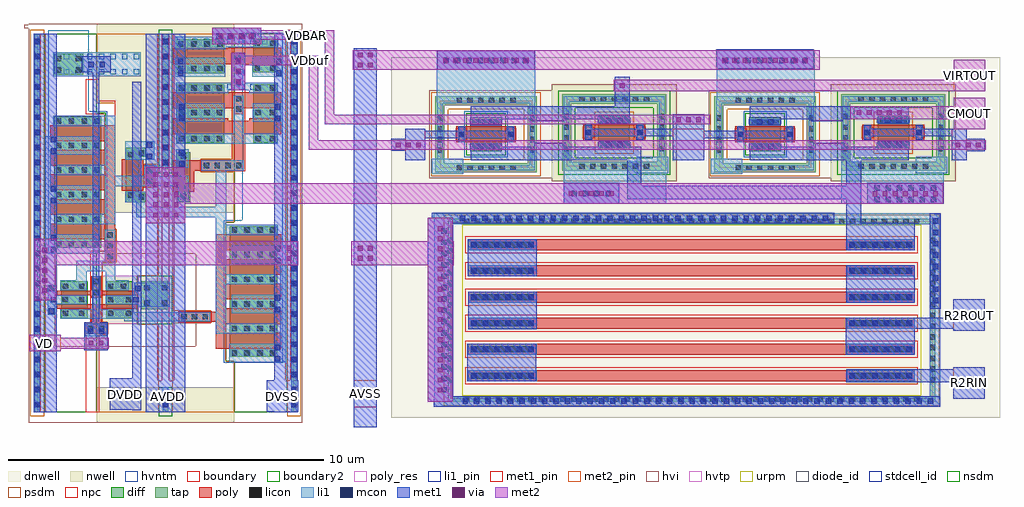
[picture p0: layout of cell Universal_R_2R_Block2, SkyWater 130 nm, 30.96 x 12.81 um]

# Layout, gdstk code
from math import pi, radians
import gdstk
lib = gdstk.Library(unit=1e-6, precision=1e-09)
def R(c, l, rs):  # rectangles x0, y0, x1, y1
    for r in rs: c.add(gdstk.rectangle(r[:2], r[2:], *l))
def A(c, l, x, y, w, h, nx, ny, dx, dy):  # array of equal rectangles
    R(c, l, [(x+i*dx, y+j*dy, x+i*dx+w, y+j*dy+h) for i in range(nx) for j in range(ny)])
def P(c, l, *ps):  # polygons
    for p in ps: c.add(gdstk.Polygon(p, *l))
dnwell = (64, 18)
nwell = (64, 20)
diff = (65, 20)
tap = (65, 44)
poly_res = (66, 13)
poly = (66, 20)
licon = (66, 44)
li1_pin = (67, 16)
li1 = (67, 20)
mcon = (67, 44)
met1_pin = (68, 16)
met1 = (68, 20)
via = (68, 44)
met2_pin = (69, 16)
met2 = (69, 20)
hvi = (75, 20)
hvtp = (78, 44)
urpm = (79, 20)
stdcell_id = (81, 4)
diode_id = (81, 23)
nsdm = (93, 44)
psdm = (94, 20)
npc = (95, 20)
hvntm = (125, 20)
boundary = (235, 4)
boundary2 = (236, 0)

sky130_fd_sc_hvl__inv_1 = lib.new_cell('sky130_fd_sc_hvl__inv_1')
R(sky130_fd_sc_hvl__inv_1, nwell, [(-0.33,1.885,1.77,4.485)])
R(sky130_fd_sc_hvl__inv_1, diff, [(0.22,0.535,1.29,1.285), (0.2,2.215,1.27,3.715)])
R(sky130_fd_sc_hvl__inv_1, tap, [(0,-0.085,1.44,0.085), (0,3.985,1.44,4.155)])
P(sky130_fd_sc_hvl__inv_1, poly, [(1.005,2.085),(0.985,2.085),(0.985,3.845),(0.485,3.845),(0.485,1.415),(0.505,1.415),(0.505,0.405),(1.005,0.405)])
A(sky130_fd_sc_hvl__inv_1, licon, 0.155, -0.085, 0.17, 0.17, 3, 2, 0.48, 4.07)
R(sky130_fd_sc_hvl__inv_1, licon, [(0.28,0.575,0.45,0.745), (1.06,0.575,1.23,0.745), (0.28,1.075,0.45,1.245), (1.06,1.075,1.23,1.245), (0.585,1.685,0.755,1.855), (0.26,2.255,0.43,2.425), (1.04,2.255,1.21,2.425), (0.26,2.67,0.43,2.84), (1.04,2.67,1.21,2.84), (0.26,3.09,0.43,3.26), (1.04,3.09,1.21,3.26), (0.26,3.505,0.43,3.675), (1.04,3.505,1.21,3.675)])
A(sky130_fd_sc_hvl__inv_1, li1_pin, 0.155, 1.58, 0.17, 0.17, 3, 1, 0.48, 0)
A(sky130_fd_sc_hvl__inv_1, li1_pin, 1.115, 1.95, 0.17, 0.17, 1, 4, 0, 0.37)
R(sky130_fd_sc_hvl__inv_1, li1_pin, [(1.115,0.84,1.285,1.01), (1.115,1.21,1.285,1.38)])
R(sky130_fd_sc_hvl__inv_1, li1, [(0,-0.085,1.44,0.085), (0.09,0.365,0.68,1.325), (0.125,1.55,0.835,1.935), (0.09,2.175,0.68,3.755), (0,3.985,1.44,4.155)])
P(sky130_fd_sc_hvl__inv_1, li1, [(1.345,3.755),(0.96,3.755),(0.96,2.175),(1.015,2.175),(1.015,0.495),(1.345,0.495)])
R(sky130_fd_sc_hvl__inv_1, mcon, [(0.155,-0.085,0.325,0.085), (0.155,-0.085,0.325,0.085), (0.635,-0.085,0.805,0.085), (0.635,-0.085,0.805,0.085), (1.115,-0.085,1.285,0.085), (1.115,-0.085,1.285,0.085), (0.12,0.395,0.29,0.565), (0.48,0.395,0.65,0.565), (0.12,3.505,0.29,3.675), (0.48,3.505,0.65,3.675), (0.155,3.985,0.325,4.155), (0.155,3.985,0.325,4.155), (0.635,3.985,0.805,4.155), (0.635,3.985,0.805,4.155), (1.115,3.985,1.285,4.155), (1.115,3.985,1.285,4.155)])
R(sky130_fd_sc_hvl__inv_1, met1_pin, [(0,0,1.44,0.115), (0,0.255,1.44,0.625), (0,3.445,1.44,3.815), (0,3.955,1.44,4.07)])
R(sky130_fd_sc_hvl__inv_1, met1, [(0,-0.115,1.44,0.115), (0,0.255,1.44,0.625), (0,3.445,1.44,3.815), (0,3.955,1.44,4.185)])
R(sky130_fd_sc_hvl__inv_1, hvi, [(-0.33,-0.265,1.77,4.485)])
R(sky130_fd_sc_hvl__inv_1, stdcell_id, [(0,0,1.44,4.07)])
R(sky130_fd_sc_hvl__inv_1, nsdm, [(0,0.215,1.44,1.885), (-0.13,3.855,1.57,4.285), (0,3.855,1.44,4.07)])
R(sky130_fd_sc_hvl__inv_1, psdm, [(-0.13,-0.215,1.57,0.215)])
P(sky130_fd_sc_hvl__inv_1, psdm, [(1.44,3.855),(0,3.855),(0,1.885),(0.475,1.885),(0.475,1.965),(0.865,1.965),(0.865,1.885),(1.44,1.885)])
R(sky130_fd_sc_hvl__inv_1, npc, [(0,1.545,1.44,1.97)])
R(sky130_fd_sc_hvl__inv_1, hvntm, [(-0.035,0.35,1.475,1.64)])
R(sky130_fd_sc_hvl__inv_1, boundary2, [(0,0,1.44,4.07)])
sky130_fd_sc_hvl__inv_1.add(gdstk.Label('inv_1', (0,0), layer=83, texttype=44))
sky130_fd_sc_hvl__inv_1.add(gdstk.Label('VGND', (0.72,0.44), layer=68, texttype=5))
sky130_fd_sc_hvl__inv_1.add(gdstk.Label('VNB', (0.72,0.058), layer=68, texttype=5))
sky130_fd_sc_hvl__inv_1.add(gdstk.Label('VPWR', (0.72,3.63), layer=68, texttype=5))
sky130_fd_sc_hvl__inv_1.add(gdstk.Label('VPB', (0.72,4.013), layer=68, texttype=5))
sky130_fd_sc_hvl__inv_1.add(gdstk.Label('A', (0.24,1.665), layer=67, texttype=5))
sky130_fd_sc_hvl__inv_1.add(gdstk.Label('A', (0.72,1.665), layer=67, texttype=5))
sky130_fd_sc_hvl__inv_1.add(gdstk.Label('Y', (1.2,0.925), layer=67, texttype=5))
sky130_fd_sc_hvl__inv_1.add(gdstk.Label('Y', (1.2,1.295), layer=67, texttype=5))
sky130_fd_sc_hvl__inv_1.add(gdstk.Label('Y', (1.2,1.665), layer=67, texttype=5))
sky130_fd_sc_hvl__inv_1.add(gdstk.Label('Y', (1.2,2.035), layer=67, texttype=5))
sky130_fd_sc_hvl__inv_1.add(gdstk.Label('Y', (1.2,2.405), layer=67, texttype=5))
sky130_fd_sc_hvl__inv_1.add(gdstk.Label('Y', (1.2,2.775), layer=67, texttype=5))
sky130_fd_sc_hvl__inv_1.add(gdstk.Label('Y', (1.2,3.145), layer=67, texttype=5))

sky130_fd_sc_hvl__lsbufl = lib.new_cell('sky130_fd_sc_hvl__lsbuflv2hv_1')
R(sky130_fd_sc_hvl__lsbufl, nwell, [(-0.33,1.885,0.8,6.255), (2.8,2.015,4.335,4.325)])
P(sky130_fd_sc_hvl__lsbufl, nwell, [(10.89,6.255),(6.335,6.255),(6.335,2.465),(9.8,2.465),(9.8,1.885),(10.89,1.885)])
R(sky130_fd_sc_hvl__lsbufl, diff, [(5.22,0.535,9.37,2.035), (2.985,0.755,4.155,1.595), (2.985,2.195,4.155,3.035), (6.665,4.425,8.255,4.845), (8.555,4.425,10.41,5.925), (1.755,6.105,5.905,7.605), (8.555,6.855,10.41,7.605)])
P(sky130_fd_sc_hvl__lsbufl, diff, [(8.395,3.445),(8.105,3.445),(8.105,3.235),(6.955,3.235),(6.955,3.445),(6.665,3.445),(6.665,2.815),(8.395,2.815)])
R(sky130_fd_sc_hvl__lsbufl, tap, [(0,-0.085,10.56,0.085), (3.265,3.305,4.155,4.145), (0,3.985,0.47,4.155), (7.715,3.985,10.56,4.155), (0,8.055,10.56,8.225)])
P(sky130_fd_sc_hvl__lsbufl, poly, [(3.43,3.165),(3.28,3.165),(3.28,2.035),(2.825,2.035),(2.825,2.2),(2.495,2.2),(2.495,1.53),(2.825,1.53),(2.825,1.705),(3.28,1.705),(3.28,0.625),(3.43,0.625)],
  [(10.145,7.735),(9.645,7.735),(9.645,6.555),(9.45,6.555),(9.45,6.225),(9.645,6.225),(9.645,4.295),(10.145,4.295)],
  [(9.32,6.055),(9.24,6.055),(9.24,6.725),(9.32,6.725),(9.32,7.735),(8.82,7.735),(8.82,6.555),(7.66,6.555),(7.66,4.975),(6.99,4.975),(6.99,4.295),(7.99,4.295),(7.99,6.225),(8.82,6.225),(8.82,4.295),(9.32,4.295)],
  [(9.105,2.475),(4.78,2.475),(4.78,2.145),(5.485,2.145),(5.485,0.405),(5.985,0.405),(5.985,2.145),(6.265,2.145),(6.265,0.405),(6.765,0.405),(6.765,2.145),(7.045,2.145),(7.045,0.405),(7.545,0.405),(7.545,2.145),(7.825,2.145),(7.825,0.405),(8.325,0.405),(8.325,2.145),(8.605,2.145),(8.605,0.405),(9.105,0.405)],
  [(8.03,3.365),(7.835,3.365),(7.835,3.725),(7.165,3.725),(7.165,3.365),(7.03,3.365),(7.03,2.685),(8.03,2.685)],
  [(5.64,7.735),(5.14,7.735),(5.14,5.995),(4.86,5.995),(4.86,7.735),(4.36,7.735),(4.36,5.995),(4.08,5.995),(4.08,7.735),(3.58,7.735),(3.58,5.995),(3.3,5.995),(3.3,7.735),(2.8,7.735),(2.8,5.995),(2.52,5.995),(2.52,7.735),(2.02,7.735),(2.02,5.665),(2.865,5.665),(2.865,4.485),(3.195,4.485),(3.195,5.665),(5.64,5.665)],
  [(4.31,2.035),(3.86,2.035),(3.86,3.165),(3.71,3.165),(3.71,2.035),(3.64,2.035),(3.64,1.705),(3.71,1.705),(3.71,0.625),(3.86,0.625),(3.86,1.705),(4.31,1.705)])
A(sky130_fd_sc_hvl__lsbufl, licon, 0.155, -0.085, 0.17, 0.17, 22, 2, 0.48, 8.14)
A(sky130_fd_sc_hvl__lsbufl, licon, 5.26, 0.595, 0.17, 0.17, 6, 2, 0.78, 0.4)
A(sky130_fd_sc_hvl__lsbufl, licon, 3.055, 1.325, 0.17, 0.17, 3, 2, 0.43, 0.92)
A(sky130_fd_sc_hvl__lsbufl, licon, 5.26, 1.405, 0.17, 0.17, 6, 2, 0.78, 0.4)
A(sky130_fd_sc_hvl__lsbufl, licon, 4.86, 2.225, 0.17, 0.17, 3, 1, 0.34, 0)
A(sky130_fd_sc_hvl__lsbufl, licon, 7.835, 3.985, 0.17, 0.17, 6, 1, 0.48, 0)
A(sky130_fd_sc_hvl__lsbufl, licon, 2.945, 4.565, 0.17, 0.17, 1, 3, 0, 0.34)
A(sky130_fd_sc_hvl__lsbufl, licon, 7.74, 5.285, 0.17, 0.17, 1, 4, 0, 0.34)
A(sky130_fd_sc_hvl__lsbufl, licon, 1.795, 6.165, 0.17, 0.17, 6, 2, 0.78, 0.4)
A(sky130_fd_sc_hvl__lsbufl, licon, 1.795, 6.975, 0.17, 0.17, 6, 2, 0.78, 0.4)
R(sky130_fd_sc_hvl__lsbufl, licon, [(3.485,0.795,3.655,0.965), (3.055,0.815,3.225,0.985), (3.915,0.815,4.085,0.985), (2.575,1.61,2.745,1.78), (3.72,1.785,3.89,1.955), (4.06,1.785,4.23,1.955), (2.575,1.95,2.745,2.12), (3.915,2.655,4.085,2.825), (3.055,2.805,3.225,2.975), (3.485,2.805,3.655,2.975), (6.805,2.875,6.975,3.045), (8.085,2.875,8.255,3.045), (6.745,3.215,6.915,3.385), (8.145,3.215,8.315,3.385), (3.385,3.4,3.555,3.57), (3.865,3.4,4.035,3.57), (7.245,3.475,7.415,3.645), (7.585,3.475,7.755,3.645), (3.385,3.95,3.555,4.12), (3.865,3.95,4.035,4.12), (0.155,3.985,0.325,4.155), (8.595,4.485,8.765,4.655), (9.42,4.485,9.59,4.655), (10.2,4.485,10.37,4.655), (6.765,4.55,6.935,4.72), (8.045,4.55,8.215,4.72), (8.595,4.885,8.765,5.055), (9.42,4.885,9.59,5.055), (10.2,4.885,10.37,5.055), (8.595,5.295,8.765,5.465), (9.42,5.295,9.59,5.465), (10.2,5.295,10.37,5.465), (8.595,5.695,8.765,5.865), (9.42,5.695,9.59,5.865), (10.2,5.695,10.37,5.865), (9.53,6.305,9.7,6.475), (9.87,6.305,10.04,6.475), (8.595,6.915,8.765,7.085), (9.42,6.915,9.59,7.085), (10.2,6.915,10.37,7.085), (8.595,7.375,8.765,7.545), (9.42,7.375,9.59,7.545), (10.2,7.375,10.37,7.545)])
A(sky130_fd_sc_hvl__lsbufl, li1_pin, 10.235, 5.28, 0.17, 0.17, 1, 5, 0, 0.37)
R(sky130_fd_sc_hvl__lsbufl, li1_pin, [(2.555,1.58,2.725,1.75), (2.555,1.95,2.725,2.12)])
R(sky130_fd_sc_hvl__lsbufl, li1, [(0,-0.085,10.56,0.085), (2.495,1.53,2.805,2.2), (8.005,2.795,8.595,3.705), (0,3.985,0.8,4.155), (7.755,3.985,10.56,4.155), (7.755,4.405,8.345,4.8), (9.21,4.405,9.8,5.945), (9.21,6.835,9.8,7.745), (0,8.055,10.56,8.225)])
P(sky130_fd_sc_hvl__lsbufl, li1, [(5.295,7.885),(1.585,7.885),(1.585,6.085),(2.175,6.085),(2.175,7.715),(3.145,7.715),(3.145,6.165),(3.735,6.165),(3.735,7.715),(4.705,7.715),(4.705,6.165),(5.295,6.165)],
  [(4.31,1.995),(3.265,1.995),(3.265,3.055),(3.175,3.055),(3.175,5.495),(2.885,5.495),(2.885,2.765),(2.975,2.765),(2.975,0.735),(3.265,0.735),(3.265,1.745),(4.31,1.745)],
  [(9.41,2.475),(7.495,2.475),(7.495,3.395),(7.835,3.395),(7.835,3.805),(7.495,3.805),(7.495,4.8),(6.685,4.8),(6.685,4.47),(7.165,4.47),(7.165,2.475),(5.96,2.475),(5.96,0.595),(6.29,0.595),(6.29,2.145),(7.52,2.145),(7.52,0.595),(7.85,0.595),(7.85,2.145),(9.08,2.145),(9.08,0.515),(9.41,0.515)],
  [(8.76,1.975),(8.17,1.975),(8.17,0.425),(7.2,0.425),(7.2,1.975),(6.61,1.975),(6.61,0.425),(5.64,0.425),(5.64,1.975),(5.05,1.975),(5.05,0.255),(8.76,0.255)],
  [(4.045,0.565),(3.705,0.565),(3.705,1.575),(3.435,1.575),(3.435,0.565),(3.095,0.565),(3.095,0.335),(4.045,0.335)],
  [(10.04,6.555),(8.845,6.555),(8.845,7.625),(8.515,7.625),(8.515,4.405),(8.845,4.405),(8.845,6.225),(10.04,6.225)],
  [(7.99,6.555),(7.66,6.555),(7.66,5.995),(5.945,5.995),(5.945,7.625),(5.615,7.625),(5.615,5.995),(4.385,5.995),(4.385,7.545),(4.055,7.545),(4.055,5.995),(2.825,5.995),(2.825,7.545),(2.495,7.545),(2.495,5.665),(6.185,5.665),(6.185,3.135),(6.665,3.135),(6.665,2.795),(6.995,2.795),(6.995,3.465),(6.515,3.465),(6.515,5.665),(7.66,5.665),(7.66,5.205),(7.99,5.205)],
  [(5.79,2.475),(4.185,2.475),(4.185,2.905),(3.875,2.905),(3.875,2.165),(4.48,2.165),(4.48,1.575),(3.875,1.575),(3.875,0.735),(4.185,0.735),(4.185,1.245),(4.81,1.245),(4.81,2.145),(5.79,2.145)],
  [(4.115,4.2),(3.345,4.2),(3.345,3.225),(3.435,3.225),(3.435,2.165),(3.705,2.165),(3.705,3.075),(4.115,3.075)],
  [(10.45,7.625),(10.12,7.625),(10.12,6.725),(10.21,6.725),(10.21,6.055),(10.12,6.055),(10.12,4.405),(10.45,4.405)])
A(sky130_fd_sc_hvl__lsbufl, mcon, 0.155, -0.085, 0.17, 0.17, 22, 2, 0.48, 8.14)
A(sky130_fd_sc_hvl__lsbufl, mcon, 7.835, 3.985, 0.17, 0.17, 6, 1, 0.48, 0)
R(sky130_fd_sc_hvl__lsbufl, mcon, [(3.125,0.365,3.295,0.535), (3.845,0.365,4.015,0.535), (3.485,0.425,3.655,0.595), (5.08,0.425,5.25,0.595), (5.44,0.425,5.61,0.595), (6.64,0.425,6.81,0.595), (7,0.425,7.17,0.595), (8.2,0.425,8.37,0.595), (8.56,0.425,8.73,0.595), (3.485,3.05,3.655,3.22), (3.845,3.105,4.015,3.275), (8.035,3.475,8.205,3.645), (8.395,3.475,8.565,3.645), (0.155,3.985,0.325,4.155), (7.785,4.495,7.955,4.665), (8.145,4.495,8.315,4.665), (9.24,4.495,9.41,4.665), (9.6,4.495,9.77,4.665), (1.615,7.545,1.785,7.715), (1.975,7.545,2.145,7.715), (3.175,7.545,3.345,7.715), (3.535,7.545,3.705,7.715), (4.735,7.545,4.905,7.715), (5.095,7.545,5.265,7.715), (9.24,7.545,9.41,7.715), (9.6,7.545,9.77,7.715)])
R(sky130_fd_sc_hvl__lsbufl, met1_pin, [(0,0,10.56,0.115), (0,0.255,10.56,0.625), (0.07,3.02,10.49,3.305), (0,3.445,10.56,3.815), (0,3.955,10.56,4.185), (0,4.325,10.56,4.695), (0,7.515,10.56,7.885), (0,8.025,10.56,8.14)])
A(sky130_fd_sc_hvl__lsbufl, met1, 0, -0.115, 10.56, 0.23, 1, 3, 0, 4.07)
R(sky130_fd_sc_hvl__lsbufl, met1, [(0,0.255,10.56,0.625), (0.07,3.02,10.49,3.305), (0,3.445,10.56,3.815), (0,4.325,10.56,4.695), (0,7.515,10.56,7.885)])
P(sky130_fd_sc_hvl__lsbufl, hvi, [(10.89,8.405),(5.035,8.405),(5.035,0.575),(2.095,0.575),(2.095,5.035),(5.035,5.035),(5.035,8.405),(-0.33,8.405),(-0.33,-0.265),(10.89,-0.265)])
R(sky130_fd_sc_hvl__lsbufl, hvtp, [(2.805,2.015,4.335,3.215)])
R(sky130_fd_sc_hvl__lsbufl, stdcell_id, [(0,0,10.56,8.14)])
R(sky130_fd_sc_hvl__lsbufl, nsdm, [(2.8,3.175,4.335,4.275), (-0.13,3.855,0.8,4.285), (7.585,3.855,10.69,4.285)])
P(sky130_fd_sc_hvl__lsbufl, nsdm, [(10.56,7.925),(0,7.925),(0,6.255),(1.625,6.255),(1.625,5.975),(6.035,5.975),(6.035,6.255),(10.56,6.255)],
  [(10.56,1.885),(9.5,1.885),(9.5,2.165),(5.09,2.165),(5.09,1.885),(0,1.885),(0,0.215),(10.56,0.215)])
R(sky130_fd_sc_hvl__lsbufl, psdm, [(-0.13,-0.215,10.69,0.215), (-0.13,7.925,10.69,8.355)])
P(sky130_fd_sc_hvl__lsbufl, psdm, [(10.56,6.255),(10.15,6.255),(10.15,6.195),(8.02,6.195),(8.02,5.175),(7.63,5.175),(7.63,6.255),(6.035,6.255),(6.035,5.975),(1.625,5.975),(1.625,6.255),(0,6.255),(0,4.285),(2.835,4.285),(2.835,5.525),(3.225,5.525),(3.225,4.285),(10.56,4.285)],
  [(10.56,3.855),(7.865,3.855),(7.865,3.365),(7.135,3.365),(7.135,3.855),(4.335,3.855),(4.335,3.175),(2.8,3.175),(2.8,3.855),(0,3.855),(0,1.885),(2.465,1.885),(2.465,2.23),(2.855,2.23),(2.855,2.065),(4.75,2.065),(4.75,2.505),(5.82,2.505),(5.82,2.465),(9.8,2.465),(9.8,1.885),(10.56,1.885)])
R(sky130_fd_sc_hvl__lsbufl, npc, [(7.145,3.375,7.855,3.745), (2.845,4.465,3.215,5.515)])
P(sky130_fd_sc_hvl__lsbufl, npc, [(10.56,6.595),(7.64,6.595),(7.64,5.185),(8.01,5.185),(8.01,6.17),(10.56,6.17)],
  [(10.56,1.97),(9.885,1.97),(9.885,2.47),(5.81,2.47),(5.81,2.495),(4.76,2.495),(4.76,2.055),(2.845,2.055),(2.845,2.22),(2.475,2.22),(2.475,1.97),(0,1.97),(0,1.545),(2.475,1.545),(2.475,1.51),(2.845,1.51),(2.845,1.685),(5.13,1.685),(5.13,2.125),(9.46,2.125),(9.46,1.545),(10.56,1.545)])
P(sky130_fd_sc_hvl__lsbufl, hvntm, [(10.595,1.64),(9.555,1.64),(9.555,2.22),(5.035,2.22),(5.035,0.35),(10.595,0.35)],
  [(10.595,7.79),(1.57,7.79),(1.57,5.92),(6.09,5.92),(6.09,6.5),(10.595,6.5)])
R(sky130_fd_sc_hvl__lsbufl, boundary2, [(0,0,10.56,8.14)])
sky130_fd_sc_hvl__lsbufl.add(gdstk.Label('lsbuflv2hv_1', (0,0), layer=83, texttype=44))
sky130_fd_sc_hvl__lsbufl.add(gdstk.Label('VPWR', (4.8,4.51), layer=68, texttype=5))
sky130_fd_sc_hvl__lsbufl.add(gdstk.Label('VPWR', (4.8,3.63), layer=68, texttype=5))
sky130_fd_sc_hvl__lsbufl.add(gdstk.Label('VGND', (4.7,7.7), layer=68, texttype=5))
sky130_fd_sc_hvl__lsbufl.add(gdstk.Label('VGND', (4.8,0.44), layer=68, texttype=5))
sky130_fd_sc_hvl__lsbufl.add(gdstk.Label('VNB', (4.8,0.058), layer=68, texttype=5))
sky130_fd_sc_hvl__lsbufl.add(gdstk.Label('LVPWR', (4.8,3.165), layer=68, texttype=5))
sky130_fd_sc_hvl__lsbufl.add(gdstk.Label('VPB', (4.8,4.068), layer=68, texttype=5))
sky130_fd_sc_hvl__lsbufl.add(gdstk.Label('VNB', (4.8,8.082), layer=68, texttype=5))
sky130_fd_sc_hvl__lsbufl.add(gdstk.Label('A', (2.64,2.035), layer=67, texttype=5))
sky130_fd_sc_hvl__lsbufl.add(gdstk.Label('A', (2.64,1.665), layer=67, texttype=5))
sky130_fd_sc_hvl__lsbufl.add(gdstk.Label('X', (10.32,6.105), layer=67, texttype=5))
sky130_fd_sc_hvl__lsbufl.add(gdstk.Label('X', (10.32,5.735), layer=67, texttype=5))
sky130_fd_sc_hvl__lsbufl.add(gdstk.Label('X', (10.32,5.365), layer=67, texttype=5))
sky130_fd_sc_hvl__lsbufl.add(gdstk.Label('X', (10.32,6.475), layer=67, texttype=5))
sky130_fd_sc_hvl__lsbufl.add(gdstk.Label('X', (10.32,6.845), layer=67, texttype=5))

sky130_fd_sc_hvl__fill_1 = lib.new_cell('sky130_fd_sc_hvl__fill_1')
R(sky130_fd_sc_hvl__fill_1, nwell, [(-0.33,1.885,0.81,4.485)])
R(sky130_fd_sc_hvl__fill_1, tap, [(0,-0.085,0.48,0.085), (0,3.985,0.48,4.155)])
R(sky130_fd_sc_hvl__fill_1, licon, [(0.155,-0.085,0.325,0.085), (0.155,3.985,0.325,4.155)])
R(sky130_fd_sc_hvl__fill_1, li1, [(0,-0.085,0.48,0.085), (0,3.985,0.48,4.155)])
R(sky130_fd_sc_hvl__fill_1, mcon, [(0.155,-0.085,0.325,0.085), (0.155,-0.085,0.325,0.085), (0.155,3.985,0.325,4.155), (0.155,3.985,0.325,4.155)])
R(sky130_fd_sc_hvl__fill_1, met1_pin, [(0,0,0.48,0.115), (0,0,0.48,0.115), (0,0.255,0.48,0.625), (0,3.445,0.48,3.815), (0,3.955,0.48,4.07), (0,3.955,0.48,4.07)])
R(sky130_fd_sc_hvl__fill_1, met1, [(0,-0.115,0.48,0.115), (0,0.255,0.48,0.625), (0,3.445,0.48,3.815), (0,3.955,0.48,4.185)])
R(sky130_fd_sc_hvl__fill_1, hvi, [(-0.33,-0.265,0.81,4.485)])
R(sky130_fd_sc_hvl__fill_1, stdcell_id, [(0,0,0.48,4.07)])
R(sky130_fd_sc_hvl__fill_1, nsdm, [(0,0.215,0.48,1.885), (-0.13,3.855,0.61,4.285), (0,3.855,0.48,4.07)])
R(sky130_fd_sc_hvl__fill_1, psdm, [(-0.13,-0.215,0.61,0.215), (0,1.885,0.48,3.855)])
R(sky130_fd_sc_hvl__fill_1, hvntm, [(-0.11,0.35,0.59,1.64)])
R(sky130_fd_sc_hvl__fill_1, boundary2, [(0,0,0.48,4.07)])
sky130_fd_sc_hvl__fill_1.add(gdstk.Label('fill_1', (0,0), layer=83, texttype=44))
sky130_fd_sc_hvl__fill_1.add(gdstk.Label('VNB', (0.24,0.058), layer=68, texttype=5))
sky130_fd_sc_hvl__fill_1.add(gdstk.Label('VNB', (0.24,0.058), layer=68, texttype=5))
sky130_fd_sc_hvl__fill_1.add(gdstk.Label('VPWR', (0.24,3.63), layer=68, texttype=5))
sky130_fd_sc_hvl__fill_1.add(gdstk.Label('VPB', (0.24,4.013), layer=68, texttype=5))
sky130_fd_sc_hvl__fill_1.add(gdstk.Label('VPB', (0.24,4.013), layer=68, texttype=5))
sky130_fd_sc_hvl__fill_1.add(gdstk.Label('VGND', (0.24,0.44), layer=68, texttype=5))

sky130_fd_sc_hvl__diode_ = lib.new_cell('sky130_fd_sc_hvl__diode_2')
R(sky130_fd_sc_hvl__diode_, nwell, [(-0.33,1.885,1.29,4.485)])
R(sky130_fd_sc_hvl__diode_, diff, [(0.15,0.535,0.81,1.455)])
R(sky130_fd_sc_hvl__diode_, tap, [(0,-0.085,0.96,0.085), (0,3.985,0.96,4.155)])
R(sky130_fd_sc_hvl__diode_, licon, [(0.155,-0.085,0.325,0.085), (0.635,-0.085,0.805,0.085), (0.21,0.595,0.38,0.765), (0.58,0.595,0.75,0.765), (0.21,1.225,0.38,1.395), (0.58,1.225,0.75,1.395), (0.155,3.985,0.325,4.155), (0.635,3.985,0.805,4.155)])
A(sky130_fd_sc_hvl__diode_, li1_pin, 0.155, 0.84, 0.17, 0.17, 1, 7, 0, 0.37)
A(sky130_fd_sc_hvl__diode_, li1_pin, 0.635, 0.84, 0.17, 0.17, 1, 7, 0, 0.37)
R(sky130_fd_sc_hvl__diode_, li1, [(0,-0.085,0.96,0.085), (0.105,0.515,0.855,3.28), (0,3.985,0.96,4.155)])
R(sky130_fd_sc_hvl__diode_, mcon, [(0.155,-0.085,0.325,0.085), (0.155,-0.085,0.325,0.085), (0.635,-0.085,0.805,0.085), (0.635,-0.085,0.805,0.085), (0.155,3.985,0.325,4.155), (0.155,3.985,0.325,4.155), (0.635,3.985,0.805,4.155), (0.635,3.985,0.805,4.155)])
R(sky130_fd_sc_hvl__diode_, met1_pin, [(0,0,0.96,0.115), (0,0,0.96,0.115), (0,0.255,0.96,0.625), (0,3.445,0.96,3.815), (0,3.955,0.96,4.07), (0,3.955,0.96,4.07)])
R(sky130_fd_sc_hvl__diode_, met1, [(0,-0.115,0.96,0.115), (0,0.255,0.96,0.625), (0,3.445,0.96,3.815), (0,3.955,0.96,4.185)])
R(sky130_fd_sc_hvl__diode_, hvi, [(-0.33,-0.265,1.29,4.485)])
R(sky130_fd_sc_hvl__diode_, stdcell_id, [(0,0,0.96,4.07)])
R(sky130_fd_sc_hvl__diode_, diode_id, [(0.15,0.535,0.81,1.455)])
R(sky130_fd_sc_hvl__diode_, nsdm, [(0,0.215,0.96,1.885), (-0.13,3.855,1.09,4.285), (0,3.855,0.96,4.07)])
R(sky130_fd_sc_hvl__diode_, psdm, [(-0.13,-0.215,1.09,0.215), (0,1.885,0.96,3.855)])
R(sky130_fd_sc_hvl__diode_, hvntm, [(-0.035,0.35,0.995,1.64)])
R(sky130_fd_sc_hvl__diode_, boundary2, [(0,0,0.96,4.07)])
sky130_fd_sc_hvl__diode_.add(gdstk.Label('DIODE', (0.24,3.145), layer=67, texttype=5))
sky130_fd_sc_hvl__diode_.add(gdstk.Label('DIODE', (0.72,3.145), layer=67, texttype=5))
sky130_fd_sc_hvl__diode_.add(gdstk.Label('DIODE', (0.24,2.775), layer=67, texttype=5))
sky130_fd_sc_hvl__diode_.add(gdstk.Label('DIODE', (0.72,2.775), layer=67, texttype=5))
sky130_fd_sc_hvl__diode_.add(gdstk.Label('DIODE', (0.24,2.405), layer=67, texttype=5))
sky130_fd_sc_hvl__diode_.add(gdstk.Label('DIODE', (0.72,2.405), layer=67, texttype=5))
sky130_fd_sc_hvl__diode_.add(gdstk.Label('DIODE', (0.24,2.035), layer=67, texttype=5))
sky130_fd_sc_hvl__diode_.add(gdstk.Label('DIODE', (0.72,2.035), layer=67, texttype=5))
sky130_fd_sc_hvl__diode_.add(gdstk.Label('DIODE', (0.24,1.665), layer=67, texttype=5))
sky130_fd_sc_hvl__diode_.add(gdstk.Label('DIODE', (0.72,1.665), layer=67, texttype=5))
sky130_fd_sc_hvl__diode_.add(gdstk.Label('DIODE', (0.72,1.295), layer=67, texttype=5))
sky130_fd_sc_hvl__diode_.add(gdstk.Label('DIODE', (0.72,0.925), layer=67, texttype=5))
sky130_fd_sc_hvl__diode_.add(gdstk.Label('DIODE', (0.24,0.925), layer=67, texttype=5))
sky130_fd_sc_hvl__diode_.add(gdstk.Label('DIODE', (0.24,1.295), layer=67, texttype=5))
sky130_fd_sc_hvl__diode_.add(gdstk.Label('diode_2', (0,0), layer=83, texttype=44))
sky130_fd_sc_hvl__diode_.add(gdstk.Label('VGND', (0.48,0.44), layer=68, texttype=5))
sky130_fd_sc_hvl__diode_.add(gdstk.Label('VNB', (0.48,0.058), layer=68, texttype=5))
sky130_fd_sc_hvl__diode_.add(gdstk.Label('VNB', (0.48,0.058), layer=68, texttype=5))
sky130_fd_sc_hvl__diode_.add(gdstk.Label('VPWR', (0.48,3.63), layer=68, texttype=5))
sky130_fd_sc_hvl__diode_.add(gdstk.Label('VPB', (0.48,4.013), layer=68, texttype=5))
sky130_fd_sc_hvl__diode_.add(gdstk.Label('VPB', (0.48,4.013), layer=68, texttype=5))

sky130_fd_pr__pfet_g5v0d = lib.new_cell('sky130_fd_pr__pfet_g5v0d10v5_TUFYNQ')
R(sky130_fd_pr__pfet_g5v0d, nwell, [(-1.54,-1.985,1.54,1.985)])
R(sky130_fd_pr__pfet_g5v0d, diff, [(-0.54,-0.5,0.54,0.5)])
R(sky130_fd_pr__pfet_g5v0d, tap, [(-1.21,-1.655,1.21,-1.365), (-1.21,-1.365,-0.92,1.365), (0.92,-1.365,1.21,1.365), (-1.21,1.365,1.21,1.655)])
R(sky130_fd_pr__pfet_g5v0d, poly, [(-0.25,-0.985,0.25,0.985)])
A(sky130_fd_pr__pfet_g5v0d, licon, -0.595, -1.595, 0.17, 0.17, 4, 2, 0.34, 3.02)
A(sky130_fd_pr__pfet_g5v0d, licon, -1.15, -1.105, 0.17, 0.17, 1, 7, 0, 0.34)
A(sky130_fd_pr__pfet_g5v0d, licon, 0.98, -1.105, 0.17, 0.17, 1, 7, 0, 0.34)
A(sky130_fd_pr__pfet_g5v0d, licon, -0.48, -0.425, 0.17, 0.17, 1, 3, 0, 0.34)
A(sky130_fd_pr__pfet_g5v0d, licon, 0.31, -0.425, 0.17, 0.17, 1, 3, 0, 0.34)
R(sky130_fd_pr__pfet_g5v0d, licon, [(-0.085,-0.905,0.085,-0.735), (-0.085,0.735,0.085,0.905)])
R(sky130_fd_pr__pfet_g5v0d, li1, [(-1.15,-1.595,1.15,-1.425), (-1.15,-1.425,-0.98,1.425), (0.98,-1.425,1.15,1.425), (-0.25,-0.905,0.25,-0.735), (-0.48,-0.52,-0.31,0.52), (0.31,-0.52,0.48,0.52), (-0.25,0.735,0.25,0.905), (-1.15,1.425,1.15,1.595)])
R(sky130_fd_pr__pfet_g5v0d, mcon, [(-0.085,-0.905,0.085,-0.735), (-0.48,-0.265,-0.31,-0.095), (0.31,-0.265,0.48,-0.095), (-0.48,0.095,-0.31,0.265), (0.31,0.095,0.48,0.265), (-0.085,0.735,0.085,0.905)])
R(sky130_fd_pr__pfet_g5v0d, met1, [(-0.23,-0.935,0.23,-0.705), (-0.51,-0.5,-0.28,0.5), (0.28,-0.5,0.51,0.5), (-0.23,0.705,0.23,0.935)])
R(sky130_fd_pr__pfet_g5v0d, hvi, [(-1.54,-1.985,1.54,1.985)])
R(sky130_fd_pr__pfet_g5v0d, nsdm, [(-1.335,-1.78,1.335,-1.24), (-1.335,-1.24,-0.795,1.24), (0.795,-1.24,1.335,1.24), (-1.335,1.24,1.335,1.78)])
R(sky130_fd_pr__pfet_g5v0d, psdm, [(-0.665,-0.625,0.665,0.625)])
R(sky130_fd_pr__pfet_g5v0d, npc, [(-0.185,-1.005,0.185,-0.635), (-0.185,0.635,0.185,1.005)])
R(sky130_fd_pr__pfet_g5v0d, boundary, [(-1.065,-1.51,1.065,1.51)])

sky130_fd_pr__nfet_g5v0d = lib.new_cell('sky130_fd_pr__nfet_g5v0d10v5_92HZNS')
R(sky130_fd_pr__nfet_g5v0d, diff, [(-0.54,-0.5,0.54,0.5)])
R(sky130_fd_pr__nfet_g5v0d, tap, [(-1.21,-1.61,1.21,-1.32), (-1.21,-1.32,-0.92,1.32), (0.92,-1.32,1.21,1.32), (-1.21,1.32,1.21,1.61)])
R(sky130_fd_pr__nfet_g5v0d, poly, [(-0.25,-0.94,0.25,0.94)])
A(sky130_fd_pr__nfet_g5v0d, licon, -0.595, -1.55, 0.17, 0.17, 4, 2, 0.34, 2.93)
A(sky130_fd_pr__nfet_g5v0d, licon, -1.15, -0.935, 0.17, 0.17, 1, 6, 0, 0.34)
A(sky130_fd_pr__nfet_g5v0d, licon, 0.98, -0.935, 0.17, 0.17, 1, 6, 0, 0.34)
A(sky130_fd_pr__nfet_g5v0d, licon, -0.48, -0.425, 0.17, 0.17, 1, 3, 0, 0.34)
A(sky130_fd_pr__nfet_g5v0d, licon, 0.31, -0.425, 0.17, 0.17, 1, 3, 0, 0.34)
R(sky130_fd_pr__nfet_g5v0d, licon, [(-0.085,-0.86,0.085,-0.69), (-0.085,0.69,0.085,0.86)])
R(sky130_fd_pr__nfet_g5v0d, li1, [(-1.15,-1.55,1.15,-1.38), (-1.15,-1.38,-0.98,1.38), (0.98,-1.38,1.15,1.38), (-0.25,-0.86,0.25,-0.69), (-0.48,-0.52,-0.31,0.52), (0.31,-0.52,0.48,0.52), (-0.25,0.69,0.25,0.86), (-1.15,1.38,1.15,1.55)])
R(sky130_fd_pr__nfet_g5v0d, mcon, [(-0.085,-0.86,0.085,-0.69), (-0.48,-0.265,-0.31,-0.095), (0.31,-0.265,0.48,-0.095), (-0.48,0.095,-0.31,0.265), (0.31,0.095,0.48,0.265), (-0.085,0.69,0.085,0.86)])
R(sky130_fd_pr__nfet_g5v0d, met1, [(-0.23,-0.89,0.23,-0.66), (-0.51,-0.5,-0.28,0.5), (0.28,-0.5,0.51,0.5), (-0.23,0.66,0.23,0.89)])
R(sky130_fd_pr__nfet_g5v0d, hvi, [(-1.395,-1.795,1.395,1.795)])
R(sky130_fd_pr__nfet_g5v0d, nsdm, [(-0.665,-0.625,0.665,0.625)])
R(sky130_fd_pr__nfet_g5v0d, psdm, [(-1.335,-1.735,1.335,-1.195), (-1.335,-1.195,-0.795,1.195), (0.795,-1.195,1.335,1.195), (-1.335,1.195,1.335,1.735)])
R(sky130_fd_pr__nfet_g5v0d, npc, [(-0.185,-0.96,0.185,-0.59), (-0.185,0.59,0.185,0.96)])
R(sky130_fd_pr__nfet_g5v0d, hvntm, [(-0.725,-0.685,0.725,0.685)])
R(sky130_fd_pr__nfet_g5v0d, boundary, [(-1.06,-1.46,1.06,1.46)])

t_gate_5v = lib.new_cell('T_Gate_5V')
R(t_gate_5v, li1_pin, [(4.42,-9.01,4.93,-8.01), (4.48,-2.5,4.96,-1.5)])
R(t_gate_5v, li1, [(4.42,-9.01,4.93,-8.01), (4.48,-2.5,4.96,-1.5)])
R(t_gate_5v, met1_pin, [(3.52,-9.63,4.52,-9.15), (3.98,-5.76,4.52,-4.76), (2.81,-5.69,3.28,-4.69), (3.52,-1.3,4.52,-0.67)])
R(t_gate_5v, met1, [(3.52,-9.63,4.52,-9.15), (3.53,-9.15,3.77,-6.43), (2.81,-7.78,3.23,-5.69), (4.1,-7.78,4.52,-5.76), (3.97,-5.76,4.52,-4.76), (2.81,-5.69,3.29,-4.69), (4.1,-4.76,4.52,-2.75), (2.81,-4.69,3.23,-2.75), (3.59,-4.08,3.83,-1.3), (3.52,-1.3,4.52,-0.67)])
R(t_gate_5v, hvi, [(2.305,-5.31,5.095,-5.025)])
t_gate_5v.add(gdstk.Reference(sky130_fd_pr__pfet_g5v0d, (3.65,-7.295)))
t_gate_5v.add(gdstk.Reference(sky130_fd_pr__nfet_g5v0d, (3.7,-3.23)))
t_gate_5v.add(gdstk.Label('UPPER', (3.045,-5.19), layer=68, texttype=5))
t_gate_5v.add(gdstk.Label('PGATE', (4.02,-9.39), layer=68, texttype=5))
t_gate_5v.add(gdstk.Label('NGATE', (4.02,-0.985), layer=68, texttype=5))
t_gate_5v.add(gdstk.Label('LOWER', (4.25,-5.26), layer=68, texttype=5))
t_gate_5v.add(gdstk.Label('AVSS', (4.72,-2), layer=67, texttype=5))
t_gate_5v.add(gdstk.Label('AVDD', (4.675,-8.51), layer=67, texttype=5))

sky130_fd_pr__res_xhigh_ = lib.new_cell('sky130_fd_pr__res_xhigh_po_0p35_Q2LWZP')
R(sky130_fd_pr__res_xhigh_, tap, [(-2.9,-7.73,2.9,-7.56), (-2.9,-7.56,-2.73,7.56), (2.73,-7.56,2.9,7.56), (-2.9,7.56,2.9,7.73)])
A(sky130_fd_pr__res_xhigh_, poly_res, -2.25, -5, 0.35, 10, 6, 1, 0.83, 0)
A(sky130_fd_pr__res_xhigh_, poly, -2.25, -7.08, 0.35, 14.16, 6, 1, 0.83, 0)
A(sky130_fd_pr__res_xhigh_, licon, -2.295, -7.73, 0.17, 0.17, 14, 2, 0.34, 15.29)
A(sky130_fd_pr__res_xhigh_, licon, -2.9, -7.225, 0.17, 0.17, 1, 43, 0, 0.34)
A(sky130_fd_pr__res_xhigh_, licon, 2.73, -7.225, 0.17, 0.17, 1, 43, 0, 0.34)
A(sky130_fd_pr__res_xhigh_, licon, -2.17, -7, 0.19, 2, 6, 2, 0.83, 12)
A(sky130_fd_pr__res_xhigh_, li1, -2.25, -7.08, 0.35, 2.16, 6, 2, 0.83, 12)
R(sky130_fd_pr__res_xhigh_, li1, [(-2.9,-7.73,2.9,-7.56), (-2.9,-7.56,-2.73,7.56), (2.73,-7.56,2.9,7.56), (-2.9,7.56,2.9,7.73)])
A(sky130_fd_pr__res_xhigh_, mcon, -2.16, -6.985, 0.17, 0.17, 6, 6, 0.83, 0.36)
A(sky130_fd_pr__res_xhigh_, mcon, -2.16, 5.01, 0.17, 0.17, 6, 6, 0.83, 0.36)
A(sky130_fd_pr__res_xhigh_, met1, -2.2, -7.05, 0.25, 2.105, 6, 2, 0.83, 11.995)
R(sky130_fd_pr__res_xhigh_, urpm, [(-2.71,-7.28,2.71,7.28)])
R(sky130_fd_pr__res_xhigh_, psdm, [(-3.025,-7.855,3.025,7.855)])
A(sky130_fd_pr__res_xhigh_, npc, -2.345, -7.175, 0.54, 14.35, 6, 1, 0.83, 0)
R(sky130_fd_pr__res_xhigh_, boundary, [(-2.815,-7.645,2.815,7.645)])

universal_r_2r_block2 = lib.new_cell('Universal_R_2R_Block2')
R(universal_r_2r_block2, dnwell, [(19.53,-13.49,38.84,-2.06)])
R(universal_r_2r_block2, li1, [(20.88,-13.15,36.95,-12.81), (20.9,-12.81,21.46,-7.35), (36.61,-12.81,36.95,-7.35), (9.83,-10.91,10.51,-10.59), (20.88,-7.35,36.95,-7.02), (20.88,-7.02,36.81,-7.01), (33.81,-6.71,37.06,-5.38), (25,-6.7,28.25,-5.37), (20.98,-3.49,24.1,-1.85), (29.85,-3.48,32.97,-1.84), (14.46,-3.1,14.91,-1.92), (9.79,-2.48,10.58,-2.1), (13.85,-1.65,15.41,-1.12)])
A(universal_r_2r_block2, mcon, 21.795, -13.05, 0.17, 0.17, 42, 1, 0.36, 0)
A(universal_r_2r_block2, mcon, 21.12, -12.69, 0.17, 0.17, 1, 15, 0, 0.36)
A(universal_r_2r_block2, mcon, 36.705, -9.86, 0.17, 0.17, 1, 8, 0, 0.36)
A(universal_r_2r_block2, mcon, 21.705, -7.25, 0.17, 0.17, 33, 1, 0.36, 0)
A(universal_r_2r_block2, mcon, 34.85, -6.65, 0.17, 0.17, 6, 2, 0.36, 0.36)
A(universal_r_2r_block2, mcon, 25.25, -6.465, 0.17, 0.17, 4, 1, 0.36, 0)
A(universal_r_2r_block2, mcon, 14.595, -2.95, 0.17, 0.17, 1, 3, 0, 0.36)
A(universal_r_2r_block2, mcon, 21.19, -2.25, 0.17, 0.17, 8, 1, 0.36, 0)
A(universal_r_2r_block2, mcon, 30.045, -2.245, 0.17, 0.17, 8, 1, 0.36, 0)
A(universal_r_2r_block2, mcon, 13.99, -1.475, 0.17, 0.17, 4, 1, 0.36, 0)
R(universal_r_2r_block2, mcon, [(9.905,-10.835,10.075,-10.665), (10.265,-10.835,10.435,-10.665), (9.92,-2.375,10.09,-2.205), (10.28,-2.375,10.45,-2.205)])
R(universal_r_2r_block2, met1_pin, [(11.94,-13.32,12.94,-12.32), (15.58,-13.31,16.58,-12.31), (10.6,-13.24,11.6,-12.24), (18.35,-13.16,19.07,-12.31), (37.36,-12.89,38.36,-11.89), (37.36,-10.74,38.36,-9.74)])
R(universal_r_2r_block2, met1, [(18.35,-13.8,19.07,-1.78), (8.34,-13.32,8.68,-9.67), (11.88,-13.32,12.94,-12.32), (15.82,-13.32,16.56,-13.31), (15.58,-13.31,16.58,-12.31), (10.6,-13.24,11.6,-12.24), (20.88,-13.15,36.94,-12.99), (20.69,-12.99,36.94,-12.81), (37.36,-12.89,38.36,-12.36), (20.69,-12.81,21.49,-7.33), (33.96,-12.36,38.36,-11.96), (21.95,-12.33,24.13,-11.15), (11.88,-12.32,12.79,-7.22), (16.02,-12.31,16.39,-8.64), (37.36,-11.96,38.36,-11.89), (33.96,-11.5,36.14,-11.49), (33.95,-11.49,36.14,-11.15), (9.79,-11.35,10.54,-10.46), (33.95,-11.15,36.13,-10.67), (37.36,-10.74,38.36,-10.67), (21.97,-10.68,24.15,-9.5), (33.95,-10.67,38.36,-10.32), (10.06,-10.46,10.27,-2.54), (37.36,-10.32,38.36,-9.74), (36.61,-10.04,36.96,-7.01), (33.96,-9.85,36.13,-8.65), (8.28,-9.67,8.81,-7.97), (21.96,-9.01,24.14,-7.83), (16.02,-8.64,16.53,-7.92), (33.96,-8.18,36.14,-7.31), (8.34,-7.97,8.68,-1.32), (16.02,-7.92,16.39,-1.33), (20.69,-7.33,33.59,-7.15), (33.96,-7.31,34.44,-6.57), (35.51,-7.31,35.95,-7.3), (11.85,-7.22,12.92,-5.62), (20.81,-7.15,33.59,-6.99), (25.01,-6.7,26.77,-6.04), (34.63,-6.7,37.06,-6.04), (27.02,-6.57,34.44,-6.13), (27.02,-6.13,27.46,-4.9), (33.96,-6.13,34.44,-5.12), (11.88,-5.62,12.79,-1.32), (37.31,-5.04,38.35,-4.64), (19.54,-5.02,20.61,-4.65), (28.46,-4.32,29.46,-3.86), (26.62,-4.07,27.1,-2.67), (34.22,-4.02,35.8,-3.61), (14.46,-3.1,14.91,-1.92), (9.72,-2.54,10.64,-2.03), (20.99,-2.46,24.09,-1.84), (29.84,-2.43,32.94,-1.81), (13.85,-1.65,15.41,-1.12), (16.03,-1.33,16.53,-1.32)])
A(universal_r_2r_block2, via, 21.01, -12.69, 0.15, 0.15, 1, 17, 0, 0.32)
A(universal_r_2r_block2, via, 8.47, -9.535, 0.15, 0.15, 1, 5, 0, 0.32)
A(universal_r_2r_block2, via, 11.99, -7.135, 0.15, 0.15, 3, 5, 0.32, 0.32)
A(universal_r_2r_block2, via, 34.8, -6.46, 0.15, 0.15, 7, 1, 0.32, 0)
A(universal_r_2r_block2, via, 25.16, -6.455, 0.15, 0.15, 5, 1, 0.32, 0)
A(universal_r_2r_block2, via, 19.68, -4.915, 0.15, 0.15, 3, 1, 0.32, 0)
A(universal_r_2r_block2, via, 37.435, -4.915, 0.15, 0.15, 3, 1, 0.32, 0)
A(universal_r_2r_block2, via, 28.565, -4.115, 0.15, 0.15, 3, 1, 0.32, 0)
A(universal_r_2r_block2, via, 34.295, -3.89, 0.15, 0.15, 5, 1, 0.32, 0)
A(universal_r_2r_block2, via, 14.605, -2.9, 0.15, 0.15, 1, 3, 0, 0.32)
A(universal_r_2r_block2, via, 21.18, -2.24, 0.15, 0.15, 9, 1, 0.32, 0)
A(universal_r_2r_block2, via, 30.035, -2.235, 0.15, 0.15, 9, 1, 0.32, 0)
A(universal_r_2r_block2, via, 14.06, -1.465, 0.15, 0.15, 4, 1, 0.32, 0)
R(universal_r_2r_block2, via, [(9.935,-11.2,10.085,-11.05), (10.255,-11.2,10.405,-11.05), (16.215,-8.515,16.365,-8.365), (18.475,-8.51,18.625,-8.36), (18.795,-8.51,18.945,-8.36), (16.215,-8.195,16.365,-8.045), (18.475,-8.19,18.625,-8.04), (18.795,-8.19,18.945,-8.04), (26.785,-3.03,26.935,-2.88), (18.475,-2.38,18.625,-2.23), (18.795,-2.38,18.945,-2.23), (18.475,-2.06,18.625,-1.91), (18.795,-2.06,18.945,-1.91)])
R(universal_r_2r_block2, met2_pin, [(8.05,-11.39,9.05,-10.86), (37.38,-4.35,38.38,-3.35), (37.38,-3.14,38.38,-2.14)])
R(universal_r_2r_block2, met2, [(20.69,-12.99,21.49,-8.66), (8.05,-11.39,9.05,-11.3), (8.05,-11.3,10.57,-10.95), (8.05,-10.95,9.05,-10.86), (8.21,-9.77,8.91,-8.66), (8.21,-8.66,16.59,-7.89), (18.27,-8.66,21.515,-7.89), (8.21,-7.89,8.91,-7.82), (20.69,-7.89,21.49,-7.15), (11.75,-7.33,13,-6.7), (11.745,-6.7,37.04,-6.05), (11.75,-6.05,13,-5.55), (16.92,-4.99,38.39,-4.69), (16.92,-4.69,17.22,-2.31), (37.38,-4.35,38.38,-4.02), (17.42,-4.19,29.63,-3.89), (34.095,-4.02,38.38,-3.61), (17.42,-3.89,17.72,-1.51), (37.38,-3.61,38.38,-3.35), (26.585,-3.14,38.38,-2.77), (14.46,-3.1,14.91,-2.31), (37.38,-2.77,38.38,-2.14), (18.305,-2.45,33.12,-1.84), (14.46,-2.31,17.22,-2.01), (14.46,-2.01,14.91,-1.92), (13.85,-1.65,15.41,-1.51), (13.85,-1.51,17.72,-1.21), (13.85,-1.21,15.41,-1.12)])
R(universal_r_2r_block2, hvi, [(7.885,-1.135,8.725,-1.03)])
R(universal_r_2r_block2, nsdm, [(15.035,-2.785,16.035,-2.665)])
R(universal_r_2r_block2, psdm, [(12.605,-2.785,14.355,-2.685)])
universal_r_2r_block2.add(gdstk.Reference(sky130_fd_sc_hvl__inv_1, (16.445,-2.76), rotation=pi/2))
universal_r_2r_block2.add(gdstk.Reference(sky130_fd_sc_hvl__lsbufl, (8.305,-13.32), rotation=pi/2, x_reflection=True))
universal_r_2r_block2.add(gdstk.Reference(sky130_fd_sc_hvl__fill_1, (8.305,-1.32), rotation=3*pi/2))
universal_r_2r_block2.add(gdstk.Reference(sky130_fd_sc_hvl__diode_, (8.305,-1.8), rotation=3*pi/2))
universal_r_2r_block2.add(gdstk.Reference(t_gate_5v, (28.16,-0.8), rotation=3*pi/2, x_reflection=True))
universal_r_2r_block2.add(gdstk.Reference(t_gate_5v, (19.31,-0.8), rotation=3*pi/2, x_reflection=True))
universal_r_2r_block2.add(gdstk.Reference(sky130_fd_pr__res_xhigh_, (29.06,-10.08), rotation=3*pi/2))
universal_r_2r_block2.add(gdstk.Label('VDBAR', (16.86,-1.37), layer=69, texttype=5))
universal_r_2r_block2.add(gdstk.Label('VDbuf', (16.96,-2.17), layer=69, texttype=5))
universal_r_2r_block2.add(gdstk.Label('VD', (8.55,-11.125), layer=69, texttype=5))
universal_r_2r_block2.add(gdstk.Label('DVDD', (11.1,-12.74), layer=68, texttype=5))
universal_r_2r_block2.add(gdstk.Label('VIRTOUT', (37.88,-2.64), layer=69, texttype=5))
universal_r_2r_block2.add(gdstk.Label('CMOUT', (37.88,-3.85), layer=69, texttype=5))
universal_r_2r_block2.add(gdstk.Label('R2RIN', (37.86,-12.39), layer=68, texttype=5))
universal_r_2r_block2.add(gdstk.Label('R2ROUT', (37.86,-10.24), layer=68, texttype=5))
universal_r_2r_block2.add(gdstk.Label('DVSS', (16.08,-12.81), layer=68, texttype=5))
universal_r_2r_block2.add(gdstk.Label('AVDD', (12.44,-12.82), layer=68, texttype=5))
universal_r_2r_block2.add(gdstk.Label('AVSS', (18.71,-12.735), layer=68, texttype=5))

lib.write_gds('Universal_R_2R_Block2.gds')
